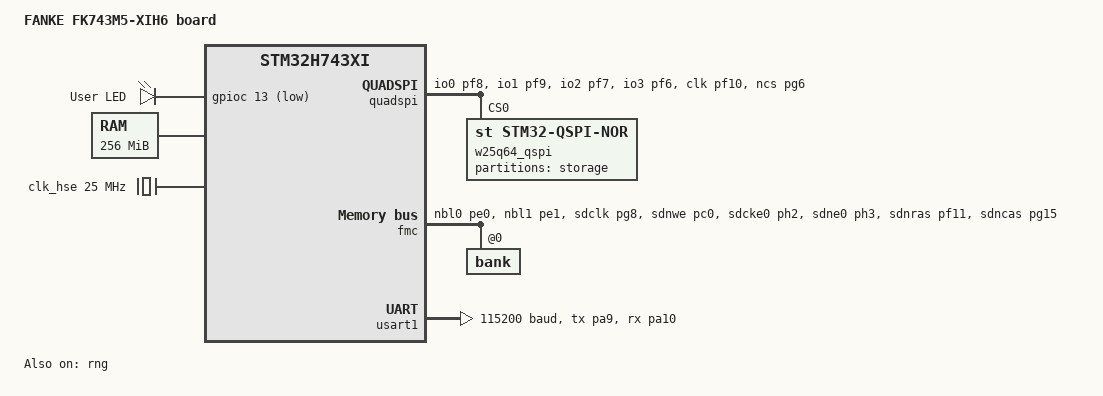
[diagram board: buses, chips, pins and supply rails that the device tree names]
/*
 * Copyright (c) 2025 zack jiang, Honbo He <hehongbo918@gmail.com>
 *
 * SPDX-License-Identifier: Apache-2.0
 */

/dts-v1/;
#include <st/h7/stm32h743Xi.dtsi>
#include <st/h7/stm32h743xihx-pinctrl.dtsi>

/ {
	model = "FANKE FK743M5-XIH6 board";
	compatible = "fanke,fk743m5-xih6";

	chosen {
		zephyr,console = &usart1;
		zephyr,shell-uart = &usart1;
		zephyr,sram = &sram0;
		zephyr,flash = &flash0;
	};

	leds {
		compatible = "gpio-leds";

		user_led: led_0 {
			gpios = <&gpioc 13 GPIO_ACTIVE_LOW>;
			label = "User LED";
		};
	};

	aliases {
		led0 = &user_led;
	};

	ext_memory: memory@90000000 {
		compatible = "zephyr,memory-region";
		reg = <0x90000000 DT_SIZE_M(256)>;
		zephyr,memory-region = "EXTMEM";
		/* The ATTR_MPU_EXTMEM attribut causing a MPU FAULT */
		zephyr,memory-attr = <DT_MEM_ARM(ATTR_MPU_IO)>;
	};

	sdram1: sdram@c0000000 {
		compatible = "zephyr,memory-region";
		reg = <0xc0000000 DT_SIZE_M(32)>;
		zephyr,memory-region = "SDRAM1";
		zephyr,memory-attr = <DT_MEM_ARM(ATTR_MPU_RAM)>;
	};
};

&clk_hsi48 {
	status = "okay";
};

&clk_hse {
	clock-frequency = <DT_FREQ_M(25)>;
	status = "okay";
};

&pll {
	div-m = <5>;
	mul-n = <192>;
	div-p = <2>;
	div-q = <4>;
	div-r = <4>;
	clocks = <&clk_hse>;
	status = "okay";
};

&pll3 {
	div-m = <5>;
	mul-n = <192>;
	div-p = <2>;
	div-q = <20>;
	div-r = <99>;
	clocks = <&clk_hse>;
	status = "okay";
};

&rcc {
	clocks = <&pll>;
	clock-frequency = <DT_FREQ_M(480)>;
	d1cpre = <1>;
	hpre = <2>;
	d1ppre = <2>;
	d2ppre1 = <2>;
	d2ppre2 = <2>;
	d3ppre = <2>;
};

&quadspi {
	pinctrl-0 = <&quadspi_bk1_io0_pf8 &quadspi_bk1_io1_pf9
		     &quadspi_bk1_io2_pf7 &quadspi_bk1_io3_pf6
		     &quadspi_clk_pf10 &quadspi_bk1_ncs_pg6>;
	pinctrl-names = "default";
	status = "okay";

	/* Winbond external flash */
	w25q64_qspi: qspi-nor-flash@0 {
		compatible = "st,stm32-qspi-nor";
		reg = <0>;
		size = <DT_SIZE_M(64)>; /* 64 Mbits */
		qspi-max-frequency = <40000000>;
		cs-high-time = <2>; /* >= 50 ns */
		status = "okay";
		spi-bus-width = <4>;
		writeoc = "PP_1_1_4";

		partitions {
			compatible = "fixed-partitions";
			#address-cells = <1>;
			#size-cells = <1>;

			storage_partition: partition@0 {
				label = "storage";
				reg = <0x00000000 DT_SIZE_M(8)>;
			};
		};
	};
};

&fmc {
	pinctrl-0 = <&fmc_nbl0_pe0 &fmc_nbl1_pe1
		     &fmc_sdclk_pg8 &fmc_sdnwe_pc0 &fmc_sdcke0_ph2
		     &fmc_sdne0_ph3 &fmc_sdnras_pf11 &fmc_sdncas_pg15
		     &fmc_a0_pf0 &fmc_a1_pf1 &fmc_a2_pf2 &fmc_a3_pf3 &fmc_a4_pf4
		     &fmc_a5_pf5 &fmc_a6_pf12 &fmc_a7_pf13 &fmc_a8_pf14
		     &fmc_a9_pf15 &fmc_a10_pg0 &fmc_a11_pg1
		     &fmc_a12_pg2 &fmc_d0_pd14 &fmc_d1_pd15
		     &fmc_d2_pd0 &fmc_d3_pd1 &fmc_d4_pe7 &fmc_d5_pe8 &fmc_d6_pe9
		     &fmc_d7_pe10 &fmc_d8_pe11 &fmc_d9_pe12 &fmc_d10_pe13
		     &fmc_d11_pe14 &fmc_d12_pe15 &fmc_d13_pd8 &fmc_d14_pd9
		     &fmc_d15_pd10>;
	pinctrl-names = "default";
	status = "okay";

	sdram {
		status = "okay";
		power-up-delay = <100>;
		num-auto-refresh = <8>;
		mode-register = <0x230>;
		refresh-rate = <0x603>;

		bank@0 {
			reg = <0>;
			st,sdram-control = <STM32_FMC_SDRAM_NC_9
					    STM32_FMC_SDRAM_NR_13
					    STM32_FMC_SDRAM_MWID_16
					    STM32_FMC_SDRAM_NB_4
					    STM32_FMC_SDRAM_CAS_3
					    STM32_FMC_SDRAM_SDCLK_PERIOD_2
					    STM32_FMC_SDRAM_RBURST_ENABLE
					    STM32_FMC_SDRAM_RPIPE_1>;
			st,sdram-timing = <2 7 4 7 3 2 2>;
		};
	};
};

&usart1 {
	pinctrl-0 = <&usart1_tx_pa9 &usart1_rx_pa10>;
	pinctrl-names = "default";
	current-speed = <115200>;
	status = "okay";
};

&backup_sram {
	status = "okay";
};

&rng {
	status = "okay";
};
